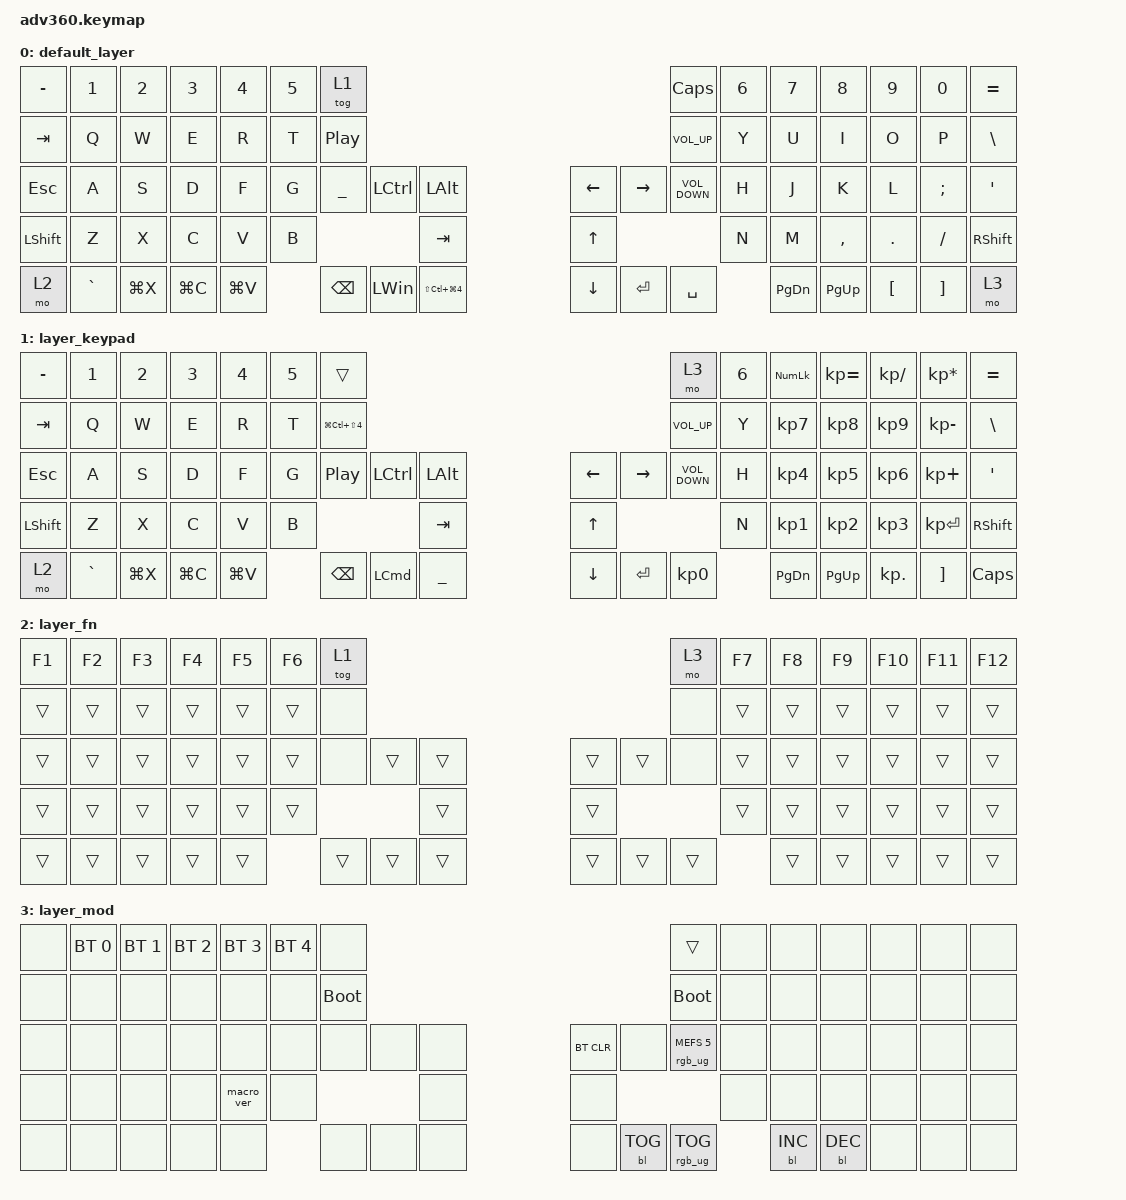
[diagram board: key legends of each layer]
/*
 * Copyright (c) 2020 The ZMK Contributors
 *
 * SPDX-License-Identifier: MIT
 */
/* THIS FILE WAS GENERATED!
 *
 * This file was generated automatically. You may or may not want to
 * edit it directly.
 */

#include <behaviors.dtsi>
#include <dt-bindings/zmk/backlight.h>
#include <dt-bindings/zmk/bt.h>
#include <dt-bindings/zmk/keys.h>
#include <dt-bindings/zmk/rgb.h>

/ {
    behaviors {
        #include "macros.dtsi"
    #include "version.dtsi"

        hm: homerow_mods {
            compatible = "zmk,behavior-hold-tap";
            label = "HOMEROW_MODS";
            #binding-cells = <2>;
            tapping-term-ms = <200>;
            quick_tap_ms = <175>;
            flavor = "tap-preferred";
            bindings = <&kp>, <&kp>;
        };
    };

    keymap {
        compatible = "zmk,keymap";

        default_layer {
            bindings = <
&kp MINUS  &kp N1     &kp N2     &kp N3     &kp N4     &kp N5  &tog 1                                                                             &kp CAPS           &kp N6  &kp N7         &kp N8     &kp N9    &kp N0    &kp EQUAL
&kp TAB    &kp Q      &kp W      &kp E      &kp R      &kp T   &kp C_PLAY_PAUSE                                                                   &kp C_VOLUME_UP    &kp Y   &kp U          &kp I      &kp O     &kp P     &kp BSLH
&kp ESC    &kp A      &kp S      &kp D      &kp F      &kp G   &kp UNDERSCORE    &kp LCTRL     &kp LALT                      &kp LEFT  &kp RIGHT  &kp C_VOLUME_DOWN  &kp H   &kp J          &kp K      &kp L     &kp SEMI  &kp SQT
&kp LSHFT  &kp Z      &kp X      &kp C      &kp V      &kp B                                   &kp TAB                       &kp UP                                  &kp N   &kp M          &kp COMMA  &kp DOT   &kp FSLH  &kp RSHFT
&mo 2      &kp GRAVE  &kp LG(X)  &kp LG(C)  &kp LG(V)          &kp BSPC          &kp LEFT_WIN  &kp LS(LC(LG(NUMBER_4)))      &kp DOWN  &kp ENTER  &kp SPACE                  &kp PAGE_DOWN  &kp PG_UP  &kp LBKT  &kp RBKT  &mo 3
            >;
        };

        layer_keypad {
            bindings = <
&kp MINUS  &kp N1     &kp N2     &kp N3     &kp N4     &kp N5  &trans                                                                                     &mo 3              &kp N6  &kp KP_NUM     &kp KP_EQUAL  &kp KP_DIVIDE  &kp KP_MULTIPLY  &kp EQUAL
&kp TAB    &kp Q      &kp W      &kp E      &kp R      &kp T   &kp LG(LC(LS(NUMBER_4)))                                                                   &kp C_VOLUME_UP    &kp Y   &kp KP_N7      &kp KP_N8     &kp KP_N9      &kp KP_MINUS     &kp BSLH
&kp ESC    &kp A      &kp S      &kp D      &kp F      &kp G   &kp C_PLAY_PAUSE          &kp LCTRL         &kp LALT            &kp LEFT_ARROW  &kp RIGHT  &kp C_VOLUME_DOWN  &kp H   &kp KP_N4      &kp KP_N5     &kp KP_N6      &kp KP_PLUS      &kp SQT
&kp LSHFT  &kp Z      &kp X      &kp C      &kp V      &kp B                                               &kp TAB             &kp UP_ARROW                                  &kp N   &kp KP_N1      &kp KP_N2     &kp KP_N3      &kp KP_ENTER     &kp RSHFT
&mo 2      &kp GRAVE  &kp LG(X)  &kp LG(C)  &kp LG(V)          &kp BSPC                  &kp LEFT_COMMAND  &kp UNDERSCORE      &kp DOWN_ARROW  &kp ENTER  &kp KP_N0                  &kp PAGE_DOWN  &kp PG_UP     &kp KP_DOT     &kp RBKT         &kp CAPS
            >;
        };

        layer_fn {
            bindings = <
&kp F1  &kp F2  &kp F3  &kp F4  &kp F5  &kp F6  &tog 1                                      &mo 3   &kp F7  &kp F8  &kp F9  &kp F10  &kp F11  &kp F12
&trans  &trans  &trans  &trans  &trans  &trans  &none                                       &none   &trans  &trans  &trans  &trans   &trans   &trans
&trans  &trans  &trans  &trans  &trans  &trans  &none   &trans  &trans      &trans  &trans  &none   &trans  &trans  &trans  &trans   &trans   &trans
&trans  &trans  &trans  &trans  &trans  &trans                  &trans      &trans                  &trans  &trans  &trans  &trans   &trans   &trans
&trans  &trans  &trans  &trans  &trans          &trans  &trans  &trans      &trans  &trans  &trans          &trans  &trans  &trans   &trans   &trans
            >;
        };

        layer_mod {
            bindings = <
&none  &bt BT_SEL 0  &bt BT_SEL 1  &bt BT_SEL 2  &bt BT_SEL 3  &bt BT_SEL 4  &none                                                  &trans                  &none  &none       &none       &none  &none  &none
&none  &none         &none         &none         &none         &none         &bootloader                                            &bootloader             &none  &none       &none       &none  &none  &none
&none  &none         &none         &none         &none         &none         &none        &none  &none      &bt BT_CLR  &none       &rgb_ug RGB_MEFS_CMD 5  &none  &none       &none       &none  &none  &none
&none  &none         &none         &none         &macro_ver    &none                             &none      &none                                           &none  &none       &none       &none  &none  &none
&none  &none         &none         &none         &none                       &none        &none  &none      &none       &bl BL_TOG  &rgb_ug RGB_TOG                &bl BL_INC  &bl BL_DEC  &none  &none  &none
            >;
        };
    };
};
